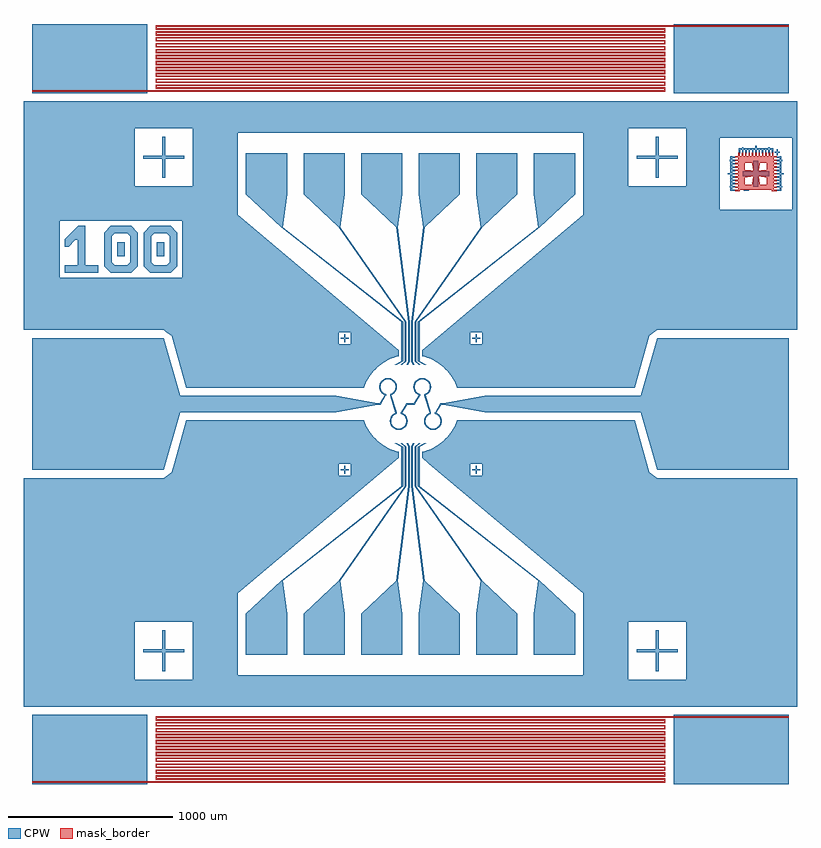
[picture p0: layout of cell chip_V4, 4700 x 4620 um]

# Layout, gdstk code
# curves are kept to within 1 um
import gdstk
lib = gdstk.Library(unit=1e-6, precision=1e-09)
def R(c, l, rs):  # rectangles x0, y0, x1, y1
    for r in rs: c.add(gdstk.rectangle(r[:2], r[2:], *l))
def A(c, l, x, y, w, h, nx, ny, dx, dy):  # array of equal rectangles
    R(c, l, [(x+i*dx, y+j*dy, x+i*dx+w, y+j*dy+h) for i in range(nx) for j in range(ny)])
def P(c, l, *ps):  # polygons
    for p in ps: c.add(gdstk.Polygon(p, *l))
CPW = (1, 0)
mask_border = (2, 0)

chip_v4 = lib.new_cell('chip_V4')
R(chip_v4, CPW, [(200,190,900,610), (4100,190,4800,610), (717,3397,763,3483), (957,3397,1003,3483), (4525,3797.5,4555,3802.5), (200,4390,900,4810), (4100,4390,4800,4810)])
P(chip_v4, CPW, [(990,875),(990,990),(875,990),(875,1010),(990,1010),(990,1125),(1010,1125),(1010,1010),(1125,1010),(1125,990),(1010,990),(1010,875)],
  [(3990,875),(3990,990),(3875,990),(3875,1010),(3990,1010),(3990,1125),(4010,1125),(4010,1010),(4125,1010),(4125,990),(4010,990),(4010,875)],
  [(2098,2075),(2098,2098),(2075,2098),(2075,2102),(2098,2102),(2098,2125),(2102,2125),(2102,2102),(2125,2102),(2125,2098),(2102,2098),(2102,2075)],
  [(2898,2075),(2898,2098),(2875,2098),(2875,2102),(2898,2102),(2898,2125),(2902,2125),(2902,2102),(2925,2102),(2925,2098),(2902,2098),(2902,2075)],
  [(1500,975),(1500,1225),(1713.262,1425),(2445,2000),(2445,2240),(2405,2260),(2415,2260),(2455,2240),(2455,2000),(1723.262,1425),(1750,1225),(1750,975)],
  [(1850,975),(1850,1225),(2063.262,1425),(2465,2000),(2465,2240),(2441,2260),(2451,2260),(2475,2240),(2475,2000),(2073.262,1425),(2100,1225),(2100,975)],
  [(2200,975),(2200,1225),(2413.262,1425),(2485,2000),(2485,2240),(2477,2260),(2487,2260),(2495,2240),(2495,2000),(2423.262,1425),(2450,1225),(2450,975)],
  [(2550,975),(2550,1225),(2576.738,1425),(2505,2000),(2505,2240),(2513,2260),(2523,2260),(2515,2240),(2515,2000),(2586.738,1425),(2800,1225),(2800,975)],
  [(2900,975),(2900,1225),(2926.738,1425),(2525,2000),(2525,2240),(2549,2260),(2559,2260),(2535,2240),(2535,2000),(2936.738,1425),(3150,1225),(3150,975)],
  [(3250,975),(3250,1225),(3276.738,1425),(2545,2000),(2545,2240),(2585,2260),(2595,2260),(2555,2240),(2555,2000),(3286.738,1425),(3500,1225),(3500,975)],
  [(150,660),(150,1175),(825,1175),(825,825),(1175,825),(1175,1175),(150,1175),(150,2050),(1000,2050),(1048.076,2086.264),(1062.715,2137.5),(2062.5,2137.5),(2062.5,2062.5),(2137.5,2062.5),(2137.5,2137.5),(1062.715,2137.5),(1137.715,2400),(2217.157,2400.083),(2228.803,2371.733),(2250.559,2333.329),(2277.715,2298.532),(2298.532,2277.715),(2333.329,2250.559),(2358.581,2235.424),(2398.933,2217.537),(2430,2208.341),(2430,2172.318),(1450,1350),(1450,850),(3550,850),(3550,1175),(3825,1175),(3825,825),(4175,825),(4175,1175),(3550,1175),(3550,1350),(2611.494,2137.5),(2862.5,2137.5),(2862.5,2062.5),(2937.5,2062.5),(2937.5,2137.5),(2611.494,2137.5),(2570,2172.318),(2570,2208.341),(2614.805,2222.836),(2654.231,2242.681),(2690.318,2268.097),(2722.285,2298.532),(2740.962,2321.29),(2757.319,2345.769),(2771.197,2371.733),(2782.843,2400.083),(3862.285,2400),(3951.924,2086.264),(4000,2050),(4850,2050),(4850,660)],
  [(200,2100),(200,2900),(1000,2900),(1100,2550),(2050,2550),(2300,2504),(2312.435,2504),(2342.598,2554.271),(2333.599,2559.101),(2325.416,2565.816),(2318.701,2573.999),(2313.711,2583.335),(2310.638,2593.465),(2309.6,2604),(2310.638,2614.535),(2313.711,2624.665),(2318.701,2634.001),(2325.416,2642.184),(2338.145,2651.624),(2347.925,2655.675),(2358.307,2657.74),(2374.135,2656.962),(2389.055,2651.624),(2397.857,2645.743),(2405.343,2638.257),(2411.224,2629.455),(2415.275,2619.675),(2417.6,2604),(2415.275,2588.325),(2408.499,2573.999),(2397.857,2562.257),(2384.24,2554.102),(2415.9,2448.47),(2415.9,2440.233),(2402.844,2434.248),(2390.152,2421.556),(2383.284,2404.974),(2383.284,2387.026),(2390.152,2370.444),(2399.218,2360.442),(2415.047,2351.981),(2428.4,2350),(2441.753,2351.981),(2453.956,2357.752),(2466.648,2370.444),(2472.419,2382.647),(2474.178,2400.509),(2468.968,2417.684),(2457.582,2431.558),(2440.9,2440.233),(2440.9,2448.47),(2473.3,2501.108),(2473.3,2504),(2475.928,2505.488),(2478.408,2504),(2520.435,2504),(2550.598,2554.271),(2541.599,2559.101),(2533.416,2565.816),(2523.976,2578.545),(2518.638,2593.465),(2517.86,2609.293),(2519.925,2619.675),(2523.976,2629.455),(2533.416,2642.184),(2546.145,2651.624),(2561.065,2656.962),(2576.893,2657.74),(2587.275,2655.675),(2597.055,2651.624),(2605.857,2645.743),(2613.343,2638.257),(2619.224,2629.455),(2623.275,2619.675),(2625.34,2609.293),(2625.34,2598.707),(2623.275,2588.325),(2619.224,2578.545),(2613.343,2569.743),(2605.857,2562.257),(2592.24,2554.102),(2623.9,2448.47),(2623.9,2440.233),(2610.844,2434.248),(2598.152,2421.556),(2591.284,2404.974),(2590.622,2391.491),(2595.832,2374.316),(2607.218,2360.442),(2623.047,2351.981),(2640.909,2350.222),(2654.003,2353.502),(2665.582,2360.442),(2674.648,2370.444),(2680.419,2382.647),(2682.178,2400.509),(2676.968,2417.684),(2665.582,2431.558),(2648.9,2440.233),(2648.9,2448.47),(2681.3,2501.108),(2681.3,2504),(2683.928,2505.488),(2686.408,2504),(2700,2504),(2950,2550),(3900,2550),(4000,2900),(4800,2900),(4800,2100),(4000,2100),(3900,2450),(2950,2450),(2700,2496),(2687.565,2496),(2657.402,2445.729),(2666.401,2440.899),(2674.584,2434.184),(2681.299,2426.001),(2686.289,2416.665),(2689.362,2406.535),(2690.4,2396),(2689.362,2385.465),(2686.289,2375.335),(2681.299,2365.999),(2674.584,2357.816),(2661.855,2348.376),(2652.075,2344.325),(2641.693,2342.26),(2625.865,2343.038),(2610.945,2348.376),(2602.143,2354.257),(2594.657,2361.743),(2588.776,2370.545),(2584.725,2380.325),(2582.4,2396),(2584.725,2411.675),(2591.501,2426.001),(2602.143,2437.743),(2615.76,2445.898),(2584.1,2551.53),(2584.1,2559.767),(2597.156,2565.752),(2609.848,2578.444),(2616.716,2595.026),(2616.716,2612.974),(2609.848,2629.556),(2600.782,2639.558),(2584.953,2648.019),(2571.6,2650),(2558.247,2648.019),(2546.044,2642.248),(2533.352,2629.556),(2527.581,2617.353),(2525.822,2599.491),(2531.032,2582.316),(2542.418,2568.442),(2559.1,2559.767),(2559.1,2551.53),(2526.7,2498.892),(2526.7,2496),(2524.072,2494.512),(2521.592,2496),(2479.565,2496),(2449.402,2445.729),(2458.401,2440.899),(2466.584,2434.184),(2476.024,2421.455),(2481.362,2406.535),(2482.14,2390.707),(2480.075,2380.325),(2476.024,2370.545),(2466.584,2357.816),(2453.855,2348.376),(2438.935,2343.038),(2423.107,2342.26),(2412.725,2344.325),(2402.945,2348.376),(2394.143,2354.257),(2386.657,2361.743),(2380.776,2370.545),(2376.725,2380.325),(2374.66,2390.707),(2374.66,2401.293),(2376.725,2411.675),(2380.776,2421.455),(2386.657,2430.257),(2394.143,2437.743),(2407.76,2445.898),(2376.1,2551.53),(2376.1,2559.767),(2389.156,2565.752),(2401.848,2578.444),(2408.716,2595.026),(2409.378,2608.509),(2404.168,2625.684),(2392.782,2639.558),(2376.953,2648.019),(2359.091,2649.778),(2345.997,2646.498),(2334.418,2639.558),(2325.352,2629.556),(2319.581,2617.353),(2317.822,2599.491),(2323.032,2582.316),(2334.418,2568.442),(2351.1,2559.767),(2351.1,2551.53),(2318.7,2498.892),(2318.7,2496),(2316.072,2494.512),(2313.592,2496),(2300,2496),(2050,2450),(1100,2450),(1000,2100)],
  [(2098,2875),(2098,2898),(2075,2898),(2075,2902),(2098,2902),(2098,2925),(2102,2925),(2102,2902),(2125,2902),(2125,2898),(2102,2898),(2102,2875)],
  [(2898,2875),(2898,2898),(2875,2898),(2875,2902),(2898,2902),(2898,2925),(2902,2925),(2902,2902),(2925,2902),(2925,2898),(2902,2898),(2902,2875)],
  [(397,3297),(397,3343),(477,3343),(477,3497),(461.242,3497),(421.242,3457),(397,3457),(397,3501.242),(478.758,3583),(523,3583),(523,3343),(603,3343),(603,3297)],
  [(678.758,3297),(637,3338.758),(637,3537),(701.242,3537),(683,3518.758),(683,3361.242),(701.242,3343),(778.758,3343),(797,3361.242),(797,3518.758),(778.758,3537),(637,3537),(637,3541.242),(678.758,3583),(801.242,3583),(843,3541.242),(843,3338.758),(801.242,3297)],
  [(918.758,3297),(877,3338.758),(877,3537),(941.242,3537),(923,3518.758),(923,3361.242),(941.242,3343),(1018.758,3343),(1037,3361.242),(1037,3518.758),(1018.758,3537),(877,3537),(877,3541.242),(918.758,3583),(1041.242,3583),(1083,3541.242),(1083,3338.758),(1041.242,3297)],
  [(4585,3820),(4585,3885),(4520,3885),(4520,3915),(4585,3915),(4585,3980),(4615,3980),(4615,3915),(4680,3915),(4680,3885),(4615,3885),(4615,3820)],
  [(4445,3795),(4445,3816.25),(4440,3816.25),(4440,3823.75),(4445,3823.75),(4445,3896.25),(4430,3896.25),(4430,3903.75),(4445,3903.75),(4445,3976.25),(4440,3976.25),(4440,3983.75),(4445,3983.75),(4445,4005),(4455,4005),(4455,4003.75),(4475,4003.75),(4475,3996.25),(4455,3996.25),(4455,3983.75),(4475,3983.75),(4475,3976.25),(4455,3976.25),(4455,3963.75),(4475,3963.75),(4475,3956.25),(4455,3956.25),(4455,3943.75),(4475,3943.75),(4475,3936.25),(4455,3936.25),(4455,3923.75),(4475,3923.75),(4475,3916.25),(4455,3916.25),(4455,3903.75),(4475,3903.75),(4475,3896.25),(4455,3896.25),(4455,3883.75),(4475,3883.75),(4475,3876.25),(4455,3876.25),(4455,3863.75),(4475,3863.75),(4475,3856.25),(4455,3856.25),(4455,3843.75),(4475,3843.75),(4475,3836.25),(4455,3836.25),(4455,3823.75),(4475,3823.75),(4475,3816.25),(4455,3816.25),(4455,3803.75),(4475,3803.75),(4475,3796.25),(4455,3796.25),(4455,3795)],
  [(4745,3795),(4745,3796.25),(4725,3796.25),(4725,3803.75),(4745,3803.75),(4745,3816.25),(4725,3816.25),(4725,3823.75),(4745,3823.75),(4745,3836.25),(4725,3836.25),(4725,3843.75),(4745,3843.75),(4745,3856.25),(4725,3856.25),(4725,3863.75),(4745,3863.75),(4745,3876.25),(4725,3876.25),(4725,3883.75),(4745,3883.75),(4745,3896.25),(4725,3896.25),(4725,3903.75),(4745,3903.75),(4745,3916.25),(4725,3916.25),(4725,3923.75),(4745,3923.75),(4745,3936.25),(4725,3936.25),(4725,3943.75),(4745,3943.75),(4745,3956.25),(4725,3956.25),(4725,3963.75),(4745,3963.75),(4745,3976.25),(4725,3976.25),(4725,3983.75),(4745,3983.75),(4745,3996.25),(4725,3996.25),(4725,4003.75),(4745,4003.75),(4745,4005),(4755,4005),(4755,3983.75),(4760,3983.75),(4760,3976.25),(4755,3976.25),(4755,3903.75),(4770,3903.75),(4770,3896.25),(4755,3896.25),(4755,3823.75),(4760,3823.75),(4760,3816.25),(4755,3816.25),(4755,3795)],
  [(2405,2740),(2445,2760),(2445,3000),(1713.262,3575),(1500,3775),(1500,4025),(1750,4025),(1750,3775),(1723.262,3575),(2455,3000),(2455,2760),(2415,2740)],
  [(2441,2740),(2465,2760),(2465,3000),(2063.262,3575),(1850,3775),(1850,4025),(2100,4025),(2100,3775),(2073.262,3575),(2475,3000),(2475,2760),(2451,2740)],
  [(2477,2740),(2485,2760),(2485,3000),(2413.262,3575),(2200,3775),(2200,4025),(2450,4025),(2450,3775),(2423.262,3575),(2495,3000),(2495,2760),(2487,2740)],
  [(2513,2740),(2505,2760),(2505,3000),(2576.738,3575),(2550,3775),(2550,4025),(2800,4025),(2800,3775),(2586.738,3575),(2515,3000),(2515,2760),(2523,2740)],
  [(2549,2740),(2525,2760),(2525,3000),(2926.738,3575),(2900,3775),(2900,4025),(3150,4025),(3150,3775),(2936.738,3575),(2535,3000),(2535,2760),(2559,2740)],
  [(2585,2740),(2545,2760),(2545,3000),(3276.738,3575),(3250,3775),(3250,4025),(3500,4025),(3500,3775),(3286.738,3575),(2555,3000),(2555,2760),(2595,2740)],
  [(4727.5,4012.5),(4727.5,4027.5),(4715,4027.5),(4715,4032.5),(4727.5,4032.5),(4727.5,4047.5),(4732.5,4047.5),(4732.5,4032.5),(4745,4032.5),(4745,4027.5),(4732.5,4027.5),(4732.5,4012.5)],
  [(4496.25,4025),(4496.25,4045),(4495,4045),(4495,4055),(4516.25,4055),(4516.25,4060),(4523.75,4060),(4523.75,4055),(4596.25,4055),(4596.25,4070),(4603.75,4070),(4603.75,4055),(4676.25,4055),(4676.25,4060),(4683.75,4060),(4683.75,4055),(4705,4055),(4705,4045),(4703.75,4045),(4703.75,4025),(4696.25,4025),(4696.25,4045),(4683.75,4045),(4683.75,4025),(4676.25,4025),(4676.25,4045),(4663.75,4045),(4663.75,4025),(4656.25,4025),(4656.25,4045),(4643.75,4045),(4643.75,4025),(4636.25,4025),(4636.25,4045),(4623.75,4045),(4623.75,4025),(4616.25,4025),(4616.25,4045),(4603.75,4045),(4603.75,4025),(4596.25,4025),(4596.25,4045),(4583.75,4045),(4583.75,4025),(4576.25,4025),(4576.25,4045),(4563.75,4045),(4563.75,4025),(4556.25,4025),(4556.25,4045),(4543.75,4045),(4543.75,4025),(4536.25,4025),(4536.25,4045),(4523.75,4045),(4523.75,4025),(4516.25,4025),(4516.25,4045),(4503.75,4045),(4503.75,4025)],
  [(990,3875),(990,3990),(875,3990),(875,4010),(990,4010),(990,4125),(1010,4125),(1010,4010),(1125,4010),(1125,3990),(1010,3990),(1010,3875)],
  [(3990,3875),(3990,3990),(3875,3990),(3875,4010),(3990,4010),(3990,4125),(4010,4125),(4010,4010),(4125,4010),(4125,3990),(4010,3990),(4010,3875)],
  [(2217.157,2599.917),(1137.715,2600),(1048.076,2913.736),(1016.572,2937.5),(2062.5,2937.5),(2062.5,2862.5),(2137.5,2862.5),(2137.5,2937.5),(1016.572,2937.5),(1000,2950),(150,2950),(150,3613),(367,3613),(367,3267),(1113,3267),(1113,3613),(150,3613),(150,4175),(825,4175),(825,3825),(1175,3825),(1175,4175),(3825,4175),(3825,3825),(4175,3825),(4175,4120),(4380,4120),(4380,3680),(4820,3680),(4820,4120),(4175,4120),(4175,4175),(150,4175),(150,4340),(4850,4340),(4850,2950),(4000,2950),(3951.924,2913.736),(3862.285,2600),(2782.843,2599.917),(2771.197,2628.267),(2749.441,2666.671),(2722.285,2701.468),(2701.468,2722.285),(2666.671,2749.441),(2641.419,2764.576),(2601.067,2782.463),(2570,2791.659),(2570,2827.682),(2700.876,2937.5),(2862.5,2937.5),(2862.5,2862.5),(2937.5,2862.5),(2937.5,2937.5),(2700.876,2937.5),(3550,3650),(3550,4150),(1450,4150),(1450,3650),(2430,2827.682),(2430,2791.659),(2385.195,2777.164),(2345.769,2757.319),(2309.682,2731.903),(2277.715,2701.468),(2259.038,2678.71),(2242.681,2654.231),(2228.803,2628.267)])
A(chip_v4, mask_border, 4042, 206, 8, 10, 1, 11, 0, 36)
A(chip_v4, mask_border, 950, 216, 3100, 8, 1, 21, 0, 18)
A(chip_v4, mask_border, 950, 224, 8, 10, 1, 11, 0, 36)
A(chip_v4, mask_border, 4473, 3834.75, 30, 7.5, 1, 3, 0, 20.5)
A(chip_v4, mask_border, 4697, 3834.75, 30, 7.5, 1, 3, 0, 20.5)
A(chip_v4, mask_border, 4473, 3916.75, 30, 7.5, 1, 3, 0, 20.5)
A(chip_v4, mask_border, 4697, 3916.75, 30, 7.5, 1, 3, 0, 20.5)
A(chip_v4, mask_border, 4534.75, 3997, 7.5, 30, 3, 1, 20.5, 0)
A(chip_v4, mask_border, 4616.75, 3997, 7.5, 30, 3, 1, 20.5, 0)
A(chip_v4, mask_border, 4042, 4406, 8, 10, 1, 11, 0, 36)
A(chip_v4, mask_border, 950, 4416, 3100, 8, 1, 21, 0, 18)
A(chip_v4, mask_border, 950, 4424, 8, 10, 1, 11, 0, 36)
R(chip_v4, mask_border, [(200,198,900,206), (900,198,4050,206), (950,594,4100,602), (4100,594,4800,602), (4493,3792.5,4503,4007.5), (4697,3792.5,4707,4007.5), (4473,3793.75,4503,3801.25), (4697,3793.75,4727,3801.25), (4473,3814.25,4508,3821.75), (4692,3814.25,4727,3821.75), (4473,3896.25,4513,3903.75), (4687,3896.25,4727,3903.75), (4473,3978.25,4508,3985.75), (4692,3978.25,4727,3985.75), (4596.25,3987,4603.75,4027), (4514.25,3992,4521.75,4027), (4678.25,3992,4685.75,4027), (4492.5,3997,4707.5,4007), (4493.75,3997,4501.25,4027), (4698.75,3997,4706.25,4027), (4473,3998.75,4503,4006.25), (4697,3998.75,4727,4006.25), (200,4398,900,4406), (900,4398,4050,4406), (950,4794,4100,4802), (4100,4794,4800,4802)])
P(chip_v4, mask_border, [(4502.5,3802.5),(4502.5,3883),(4568,3883),(4568,3880.5),(4548,3880.5),(4548,3878),(4533,3878),(4533,3833),(4578,3833),(4578,3848),(4580.5,3848),(4580.5,3868),(4583,3868),(4583,3883),(4617,3883),(4617,3868),(4619.5,3868),(4619.5,3848),(4622,3848),(4622,3833),(4667,3833),(4667,3878),(4652,3878),(4652,3880.5),(4632,3880.5),(4632,3883),(4502.5,3883),(4502.5,3967),(4533,3967),(4533,3922),(4548,3922),(4548,3919.5),(4568,3919.5),(4568,3917),(4583,3917),(4583,3932),(4580.5,3932),(4580.5,3952),(4578,3952),(4578,3967),(4622,3967),(4622,3952),(4619.5,3952),(4619.5,3932),(4617,3932),(4617,3917),(4632,3917),(4632,3919.5),(4652,3919.5),(4652,3922),(4667,3922),(4667,3967),(4502.5,3967),(4502.5,3997.5),(4697.5,3997.5),(4697.5,3802.5)])

lib.write_gds('chip_V4.gds')
